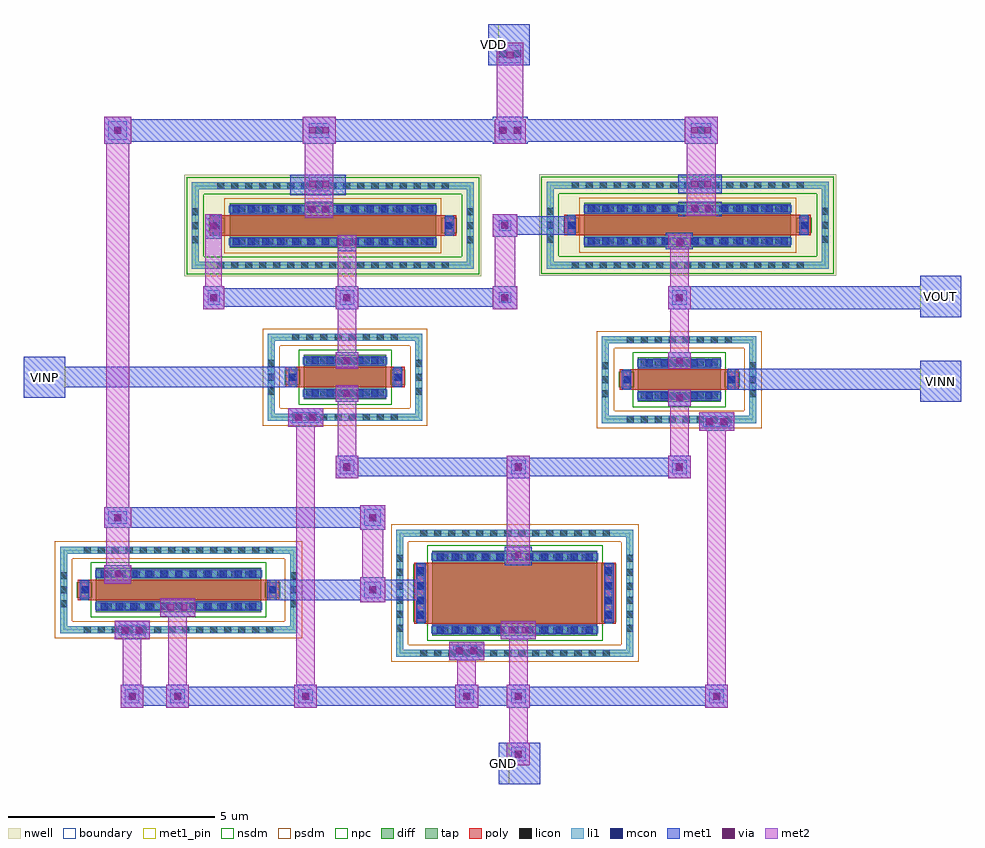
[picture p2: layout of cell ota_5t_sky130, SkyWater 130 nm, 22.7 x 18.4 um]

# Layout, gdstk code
from math import pi, radians
import gdstk
lib = gdstk.Library(unit=1e-6, precision=1e-09)
def R(c, l, rs):  # rectangles x0, y0, x1, y1
    for r in rs: c.add(gdstk.rectangle(r[:2], r[2:], *l))
def A(c, l, x, y, w, h, nx, ny, dx, dy):  # array of equal rectangles
    R(c, l, [(x+i*dx, y+j*dy, x+i*dx+w, y+j*dy+h) for i in range(nx) for j in range(ny)])
nwell = (64, 20)
diff = (65, 20)
tap = (65, 44)
poly = (66, 20)
licon = (66, 44)
li1 = (67, 20)
mcon = (67, 44)
met1_pin = (68, 16)
met1 = (68, 20)
via = (68, 44)
met2 = (69, 20)
nsdm = (93, 44)
psdm = (94, 20)
npc = (95, 20)
boundary = (235, 4)

sky130_fd_pr__nfet_01v8_ = lib.new_cell('sky130_fd_pr__nfet_01v8_EAQ5W9')
R(sky130_fd_pr__nfet_01v8_, diff, [(-0.54,-2,0.54,2)])
R(sky130_fd_pr__nfet_01v8_, tap, [(-1.05,-2.87,1.05,-2.7), (-1.05,-2.7,-0.88,2.7), (0.88,-2.7,1.05,2.7), (-1.05,2.7,1.05,2.87)])
R(sky130_fd_pr__nfet_01v8_, poly, [(-0.25,-2.44,0.25,2.44)])
A(sky130_fd_pr__nfet_01v8_, licon, -0.425, -2.87, 0.17, 0.17, 3, 2, 0.34, 5.57)
A(sky130_fd_pr__nfet_01v8_, licon, -1.05, -2.295, 0.17, 0.17, 1, 14, 0, 0.34)
A(sky130_fd_pr__nfet_01v8_, licon, 0.88, -2.295, 0.17, 0.17, 1, 14, 0, 0.34)
A(sky130_fd_pr__nfet_01v8_, licon, -0.48, -1.785, 0.17, 0.17, 1, 11, 0, 0.34)
A(sky130_fd_pr__nfet_01v8_, licon, 0.31, -1.785, 0.17, 0.17, 1, 11, 0, 0.34)
R(sky130_fd_pr__nfet_01v8_, licon, [(-0.085,-2.36,0.085,-2.19), (-0.085,2.19,0.085,2.36)])
R(sky130_fd_pr__nfet_01v8_, li1, [(-1.05,-2.87,1.05,-2.7), (-1.05,-2.7,-0.88,2.7), (0.88,-2.7,1.05,2.7), (-0.25,-2.36,0.25,-2.19), (-0.48,-2.02,-0.31,2.02), (0.31,-2.02,0.48,2.02), (-0.25,2.19,0.25,2.36), (-1.05,2.7,1.05,2.87)])
A(sky130_fd_pr__nfet_01v8_, mcon, -0.48, -1.885, 0.17, 0.17, 1, 11, 0, 0.36)
A(sky130_fd_pr__nfet_01v8_, mcon, 0.31, -1.885, 0.17, 0.17, 1, 11, 0, 0.36)
R(sky130_fd_pr__nfet_01v8_, mcon, [(-0.085,-2.36,0.085,-2.19), (-0.085,2.19,0.085,2.36)])
R(sky130_fd_pr__nfet_01v8_, met1, [(-0.23,-2.39,0.23,-2.16), (-0.51,-2,-0.28,2), (0.28,-2,0.51,2), (-0.23,2.16,0.23,2.39)])
R(sky130_fd_pr__nfet_01v8_, nsdm, [(-0.665,-2.125,0.665,2.125)])
R(sky130_fd_pr__nfet_01v8_, psdm, [(-1.175,-2.995,1.175,-2.575), (-1.175,-2.575,-0.755,2.575), (0.755,-2.575,1.175,2.575), (-1.175,2.575,1.175,2.995)])
R(sky130_fd_pr__nfet_01v8_, npc, [(-0.185,-2.46,0.185,-2.09), (-0.185,2.09,0.185,2.46)])
R(sky130_fd_pr__nfet_01v8_, boundary, [(-0.965,-2.785,0.965,2.785)])
sky130_fd_pr__nfet_01v8_.add(gdstk.Label('B', (0,-2.785), layer=67, texttype=5))
sky130_fd_pr__nfet_01v8_.add(gdstk.Label('D', (-0.395,0), layer=67, texttype=5))
sky130_fd_pr__nfet_01v8_.add(gdstk.Label('S', (0.395,0), layer=67, texttype=5))
sky130_fd_pr__nfet_01v8_.add(gdstk.Label('G', (0,2.275), layer=67, texttype=5))

c_sky130_fd_pr__nfet_01v8_ = lib.new_cell('sky130_fd_pr__nfet_01v8_6CY75A')
R(c_sky130_fd_pr__nfet_01v8_, diff, [(-1.03,-2,1.03,2)])
R(c_sky130_fd_pr__nfet_01v8_, tap, [(-1.54,-2.87,1.54,-2.7), (-1.54,-2.7,-1.37,2.7), (1.37,-2.7,1.54,2.7), (-1.54,2.7,1.54,2.87)])
R(c_sky130_fd_pr__nfet_01v8_, poly, [(-0.74,-2.44,0.74,2.44)])
A(c_sky130_fd_pr__nfet_01v8_, licon, -0.935, -2.87, 0.17, 0.17, 6, 2, 0.34, 5.57)
A(c_sky130_fd_pr__nfet_01v8_, licon, -0.595, -2.36, 0.17, 0.17, 4, 2, 0.34, 4.55)
A(c_sky130_fd_pr__nfet_01v8_, licon, -1.54, -2.295, 0.17, 0.17, 1, 14, 0, 0.34)
A(c_sky130_fd_pr__nfet_01v8_, licon, 1.37, -2.295, 0.17, 0.17, 1, 14, 0, 0.34)
A(c_sky130_fd_pr__nfet_01v8_, licon, -0.97, -1.785, 0.17, 0.17, 1, 11, 0, 0.34)
A(c_sky130_fd_pr__nfet_01v8_, licon, 0.8, -1.785, 0.17, 0.17, 1, 11, 0, 0.34)
R(c_sky130_fd_pr__nfet_01v8_, li1, [(-1.54,-2.87,1.54,-2.7), (-1.54,-2.7,-1.37,2.7), (1.37,-2.7,1.54,2.7), (-0.74,-2.36,0.74,-2.19), (-0.97,-2.02,-0.8,2.02), (0.8,-2.02,0.97,2.02), (-0.74,2.19,0.74,2.36), (-1.54,2.7,1.54,2.87)])
A(c_sky130_fd_pr__nfet_01v8_, mcon, -0.625, -2.36, 0.17, 0.17, 4, 2, 0.36, 4.55)
A(c_sky130_fd_pr__nfet_01v8_, mcon, -0.97, -1.885, 0.17, 0.17, 1, 11, 0, 0.36)
A(c_sky130_fd_pr__nfet_01v8_, mcon, 0.8, -1.885, 0.17, 0.17, 1, 11, 0, 0.36)
R(c_sky130_fd_pr__nfet_01v8_, met1, [(-0.72,-2.39,0.72,-2.16), (-1,-2,-0.77,2), (0.77,-2,1,2), (-0.72,2.16,0.72,2.39)])
R(c_sky130_fd_pr__nfet_01v8_, nsdm, [(-1.155,-2.125,1.155,2.125)])
R(c_sky130_fd_pr__nfet_01v8_, psdm, [(-1.665,-2.995,1.665,-2.575), (-1.665,-2.575,-1.245,2.575), (1.245,-2.575,1.665,2.575), (-1.665,2.575,1.665,2.995)])
R(c_sky130_fd_pr__nfet_01v8_, npc, [(-0.695,-2.46,0.695,-2.09), (-0.695,2.09,0.695,2.46)])
R(c_sky130_fd_pr__nfet_01v8_, boundary, [(-1.455,-2.785,1.455,2.785)])
c_sky130_fd_pr__nfet_01v8_.add(gdstk.Label('B', (0,-2.785), layer=67, texttype=5))
c_sky130_fd_pr__nfet_01v8_.add(gdstk.Label('D', (-0.885,0), layer=67, texttype=5))
c_sky130_fd_pr__nfet_01v8_.add(gdstk.Label('S', (0.885,0), layer=67, texttype=5))
c_sky130_fd_pr__nfet_01v8_.add(gdstk.Label('G', (0,2.275), layer=67, texttype=5))

sky130_fd_pr__pfet_01v8_ = lib.new_cell('sky130_fd_pr__pfet_01v8_NMZPXD')
R(sky130_fd_pr__pfet_01v8_, nwell, [(-1.23,-3.595,1.23,3.595)])
R(sky130_fd_pr__pfet_01v8_, diff, [(-0.54,-2.5,0.54,2.5)])
R(sky130_fd_pr__pfet_01v8_, tap, [(-1.05,-3.415,1.05,-3.245), (-1.05,-3.245,-0.88,3.245), (0.88,-3.245,1.05,3.245), (-1.05,3.245,1.05,3.415)])
R(sky130_fd_pr__pfet_01v8_, poly, [(-0.25,-2.985,0.25,2.985)])
A(sky130_fd_pr__pfet_01v8_, licon, -0.425, -3.415, 0.17, 0.17, 3, 2, 0.34, 6.66)
A(sky130_fd_pr__pfet_01v8_, licon, -1.05, -2.805, 0.17, 0.17, 1, 17, 0, 0.34)
A(sky130_fd_pr__pfet_01v8_, licon, 0.88, -2.805, 0.17, 0.17, 1, 17, 0, 0.34)
A(sky130_fd_pr__pfet_01v8_, licon, -0.48, -2.295, 0.17, 0.17, 1, 14, 0, 0.34)
A(sky130_fd_pr__pfet_01v8_, licon, 0.31, -2.295, 0.17, 0.17, 1, 14, 0, 0.34)
R(sky130_fd_pr__pfet_01v8_, licon, [(-0.085,-2.905,0.085,-2.735), (-0.085,2.735,0.085,2.905)])
R(sky130_fd_pr__pfet_01v8_, li1, [(-1.05,-3.415,1.05,-3.245), (-1.05,-3.245,-0.88,3.245), (0.88,-3.245,1.05,3.245), (-0.25,-2.905,0.25,-2.735), (-0.48,-2.52,-0.31,2.52), (0.31,-2.52,0.48,2.52), (-0.25,2.735,0.25,2.905), (-1.05,3.245,1.05,3.415)])
A(sky130_fd_pr__pfet_01v8_, mcon, -0.48, -2.425, 0.17, 0.17, 1, 14, 0, 0.36)
A(sky130_fd_pr__pfet_01v8_, mcon, 0.31, -2.425, 0.17, 0.17, 1, 14, 0, 0.36)
R(sky130_fd_pr__pfet_01v8_, mcon, [(-0.085,-2.905,0.085,-2.735), (-0.085,2.735,0.085,2.905)])
R(sky130_fd_pr__pfet_01v8_, met1, [(-0.23,-2.935,0.23,-2.705), (-0.51,-2.5,-0.28,2.5), (0.28,-2.5,0.51,2.5), (-0.23,2.705,0.23,2.935)])
R(sky130_fd_pr__pfet_01v8_, nsdm, [(-1.175,-3.54,1.175,-3.12), (-1.175,-3.12,-0.755,3.12), (0.755,-3.12,1.175,3.12), (-1.175,3.12,1.175,3.54)])
R(sky130_fd_pr__pfet_01v8_, psdm, [(-0.665,-2.625,0.665,2.625)])
R(sky130_fd_pr__pfet_01v8_, npc, [(-0.185,-3.005,0.185,-2.635), (-0.185,2.635,0.185,3.005)])
R(sky130_fd_pr__pfet_01v8_, boundary, [(-0.965,-3.33,0.965,3.33)])
sky130_fd_pr__pfet_01v8_.add(gdstk.Label('B', (0,-3.33), layer=67, texttype=5))
sky130_fd_pr__pfet_01v8_.add(gdstk.Label('D', (-0.395,0), layer=67, texttype=5))
sky130_fd_pr__pfet_01v8_.add(gdstk.Label('S', (0.395,0), layer=67, texttype=5))
sky130_fd_pr__pfet_01v8_.add(gdstk.Label('G', (0,2.82), layer=67, texttype=5))

c_sky130_fd_pr__nfet_01v8__ = lib.new_cell('sky130_fd_pr__nfet_01v8_8LGPJ7')
R(c_sky130_fd_pr__nfet_01v8__, diff, [(-0.54,-1,0.54,1)])
R(c_sky130_fd_pr__nfet_01v8__, tap, [(-1.05,-1.87,1.05,-1.7), (-1.05,-1.7,-0.88,1.7), (0.88,-1.7,1.05,1.7), (-1.05,1.7,1.05,1.87)])
R(c_sky130_fd_pr__nfet_01v8__, poly, [(-0.25,-1.44,0.25,1.44)])
A(c_sky130_fd_pr__nfet_01v8__, licon, -0.425, -1.87, 0.17, 0.17, 3, 2, 0.34, 3.57)
A(c_sky130_fd_pr__nfet_01v8__, licon, -1.05, -1.275, 0.17, 0.17, 1, 8, 0, 0.34)
A(c_sky130_fd_pr__nfet_01v8__, licon, 0.88, -1.275, 0.17, 0.17, 1, 8, 0, 0.34)
A(c_sky130_fd_pr__nfet_01v8__, licon, -0.48, -0.935, 0.17, 0.17, 1, 6, 0, 0.34)
A(c_sky130_fd_pr__nfet_01v8__, licon, 0.31, -0.935, 0.17, 0.17, 1, 6, 0, 0.34)
R(c_sky130_fd_pr__nfet_01v8__, licon, [(-0.085,-1.36,0.085,-1.19), (-0.085,1.19,0.085,1.36)])
R(c_sky130_fd_pr__nfet_01v8__, li1, [(-1.05,-1.87,1.05,-1.7), (-1.05,-1.7,-0.88,1.7), (0.88,-1.7,1.05,1.7), (-0.25,-1.36,0.25,-1.19), (-0.48,-1.02,-0.31,1.02), (0.31,-1.02,0.48,1.02), (-0.25,1.19,0.25,1.36), (-1.05,1.7,1.05,1.87)])
A(c_sky130_fd_pr__nfet_01v8__, mcon, -0.48, -0.805, 0.17, 0.17, 1, 5, 0, 0.36)
A(c_sky130_fd_pr__nfet_01v8__, mcon, 0.31, -0.805, 0.17, 0.17, 1, 5, 0, 0.36)
R(c_sky130_fd_pr__nfet_01v8__, mcon, [(-0.085,-1.36,0.085,-1.19), (-0.085,1.19,0.085,1.36)])
R(c_sky130_fd_pr__nfet_01v8__, met1, [(-0.23,-1.39,0.23,-1.16), (-0.51,-1,-0.28,1), (0.28,-1,0.51,1), (-0.23,1.16,0.23,1.39)])
R(c_sky130_fd_pr__nfet_01v8__, nsdm, [(-0.665,-1.125,0.665,1.125)])
R(c_sky130_fd_pr__nfet_01v8__, psdm, [(-1.175,-1.995,1.175,-1.575), (-1.175,-1.575,-0.755,1.575), (0.755,-1.575,1.175,1.575), (-1.175,1.575,1.175,1.995)])
R(c_sky130_fd_pr__nfet_01v8__, npc, [(-0.185,-1.46,0.185,-1.09), (-0.185,1.09,0.185,1.46)])
R(c_sky130_fd_pr__nfet_01v8__, boundary, [(-0.965,-1.785,0.965,1.785)])
c_sky130_fd_pr__nfet_01v8__.add(gdstk.Label('B', (0,-1.785), layer=67, texttype=5))
c_sky130_fd_pr__nfet_01v8__.add(gdstk.Label('D', (-0.395,0), layer=67, texttype=5))
c_sky130_fd_pr__nfet_01v8__.add(gdstk.Label('S', (0.395,0), layer=67, texttype=5))
c_sky130_fd_pr__nfet_01v8__.add(gdstk.Label('G', (0,1.275), layer=67, texttype=5))

ota_5t_sky130 = lib.new_cell('ota_5t_sky130')
R(ota_5t_sky130, li1, [(10.45,-16.25,10.8,-15.9), (1.1,-14.85,1.45,-14.5), (2.2,-14.85,2.55,-14.5), (5.3,-14.85,5.65,-14.5), (9.2,-14.85,9.55,-14.5), (10.45,-14.85,10.8,-14.5), (15.25,-14.85,15.6,-14.5), (9.05,-13.7,9.7,-13.45), (0.95,-13.2,1.6,-12.95), (6.9,-12.3,7.3,-11.9), (6.9,-10.55,7.3,-10.15), (0.7,-10.5,1.15,-10.2), (6.3,-9.3,6.65,-8.95), (10.45,-9.3,10.8,-8.95), (14.35,-9.3,14.7,-8.95), (15.1,-8.15,15.75,-7.9), (5.15,-8.05,5.8,-7.8), (3.1,-5.2,3.4,-4.85), (6.3,-5.2,6.65,-4.85), (14.35,-5.2,14.7,-4.85), (10.15,-5.15,10.45,-4.9), (10.15,-3.4,10.45,-3.15), (5.55,-2.45,6.05,-2.1), (14.8,-2.4,15.3,-2.15), (0.7,-1.2,1.15,-0.75), (10.15,-1.2,10.7,-0.75), (5.55,-1.15,6.05,-0.8), (14.8,-1.15,15.3,-0.8), (10.15,0.65,10.7,1.1)])
R(ota_5t_sky130, mcon, [(10.54,-16.16,10.71,-15.99), (1.19,-14.76,1.36,-14.59), (2.29,-14.76,2.46,-14.59), (5.39,-14.76,5.56,-14.59), (9.29,-14.76,9.46,-14.59), (10.54,-14.76,10.71,-14.59), (15.34,-14.76,15.51,-14.59), (9.11,-13.66,9.28,-13.49), (9.47,-13.66,9.64,-13.49), (1.01,-13.16,1.18,-12.99), (1.37,-13.16,1.54,-12.99), (7.015,-12.185,7.185,-12.015), (0.84,-10.435,1.01,-10.265), (7.015,-10.435,7.185,-10.265), (6.39,-9.21,6.56,-9.04), (10.54,-9.21,10.71,-9.04), (14.44,-9.21,14.61,-9.04), (15.16,-8.11,15.33,-7.94), (15.52,-8.11,15.69,-7.94), (5.21,-8.01,5.38,-7.84), (5.57,-8.01,5.74,-7.84), (3.165,-5.11,3.335,-4.94), (6.39,-5.11,6.56,-4.94), (10.215,-5.11,10.385,-4.94), (14.44,-5.11,14.61,-4.94), (10.215,-3.36,10.385,-3.19), (5.715,-2.36,5.885,-2.19), (14.965,-2.36,15.135,-2.19), (0.84,-1.06,1.01,-0.89), (5.715,-1.06,5.885,-0.89), (10.16,-1.06,10.33,-0.89), (10.52,-1.06,10.69,-0.89), (14.965,-1.06,15.135,-0.89), (10.16,0.79,10.33,0.96), (10.52,0.79,10.69,0.96)])
R(ota_5t_sky130, met1_pin, [(10.15,-16.8,10.4,-15.8), (20.35,-7.55,21.35,-6.55), (-1.35,-7.45,-0.35,-6.45), (20.35,-5.5,21.35,-4.5), (9.9,0.6,10.15,1.6)])
R(ota_5t_sky130, met1, [(10.15,-16.8,11.15,-15.8), (1,-14.95,1.55,-14.9), (2.1,-14.95,2.65,-14.9), (5.2,-14.95,5.75,-14.9), (9.1,-14.95,9.65,-14.9), (10.35,-14.95,10.9,-14.9), (15.15,-14.95,15.7,-14.9), (1,-14.9,15.7,-14.45), (1,-14.45,1.55,-14.4), (2.1,-14.45,2.65,-14.4), (5.2,-14.45,5.75,-14.4), (9.1,-14.45,9.65,-14.4), (10.35,-14.45,10.9,-14.4), (15.15,-14.45,15.7,-14.4), (8.95,-13.8,9.8,-13.35), (0.85,-13.3,1.7,-12.85), (10.2,-13.3,11.05,-12.85), (1.95,-12.75,2.8,-12.3), (6.8,-12.4,7.4,-12.35), (4.55,-12.35,8.25,-11.85), (0.6,-11.95,1.25,-11.5), (6.8,-11.85,7.4,-11.8), (10.3,-11.5,10.95,-11.05), (6.8,-10.65,7.4,-10.6), (0.6,-10.6,7.4,-10.1), (6.8,-10.1,7.4,-10.05), (6.2,-9.4,6.75,-9.35), (10.35,-9.4,10.9,-9.35), (14.25,-9.4,14.8,-9.35), (6.2,-9.35,14.8,-8.9), (6.2,-8.9,6.75,-8.85), (10.35,-8.9,10.9,-8.85), (14.25,-8.9,14.8,-8.85), (15,-8.25,15.85,-7.8), (5.05,-8.15,5.9,-7.7), (14.25,-7.65,14.8,-7.25), (6.2,-7.55,6.75,-7.15), (20.35,-7.55,21.35,-7.25), (-1.35,-7.45,-0.35,-7.2), (15.7,-7.25,21.35,-6.75), (-1.35,-7.2,5.25,-6.7), (6.2,-6.75,6.75,-6.35), (14.25,-6.75,14.8,-6.35), (20.35,-6.75,21.35,-6.55), (-1.35,-6.7,-0.35,-6.45), (20.35,-5.5,21.35,-5.3), (3,-5.3,3.5,-5.25), (6.2,-5.3,6.75,-5.25), (10,-5.3,10.6,-5.25), (14.25,-5.3,21.35,-4.75), (3,-5.25,10.6,-4.8), (3,-4.8,3.5,-4.75), (6.2,-4.8,6.75,-4.75), (10,-4.8,10.6,-4.75), (20.35,-4.75,21.35,-4.5), (6.25,-3.9,6.7,-3.5), (14.2,-3.85,14.85,-3.45), (3.05,-3.6,3.45,-3), (10,-3.55,10.6,-3.5), (10,-3.5,11.95,-3.05), (5.45,-3.1,6.15,-2.7), (10,-3.05,10.6,-3), (14.5,-3.05,15.55,-2.7), (5.1,-2.55,6.45,-2.05), (14.5,-2.5,15.55,-2.05), (0.6,-1.3,1.25,-1.25), (5.4,-1.3,6.2,-1.25), (10,-1.3,10.85,-1.25), (14.65,-1.3,15.45,-1.25), (0.6,-1.25,15.45,-0.7), (0.6,-0.7,1.25,-0.65), (5.4,-0.7,6.2,-0.65), (10,-0.7,10.85,-0.65), (14.65,-0.7,15.45,-0.65), (9.9,0.6,10.9,1.6)])
R(ota_5t_sky130, via, [(10.55,-16.15,10.7,-16), (1.2,-14.75,1.35,-14.6), (2.3,-14.75,2.45,-14.6), (5.4,-14.75,5.55,-14.6), (9.3,-14.75,9.45,-14.6), (10.55,-14.75,10.7,-14.6), (15.35,-14.75,15.5,-14.6), (9.14,-13.65,9.29,-13.5), (9.46,-13.65,9.61,-13.5), (1.04,-13.15,1.19,-13), (1.36,-13.15,1.51,-13), (10.39,-13.15,10.54,-13), (10.71,-13.15,10.86,-13), (2.14,-12.6,2.29,-12.45), (2.46,-12.6,2.61,-12.45), (7.025,-12.175,7.175,-12.025), (0.85,-11.8,1,-11.65), (10.55,-11.325,10.7,-11.175), (0.85,-10.425,1,-10.275), (7.025,-10.425,7.175,-10.275), (6.4,-9.2,6.55,-9.05), (10.55,-9.2,10.7,-9.05), (14.45,-9.2,14.6,-9.05), (15.19,-8.1,15.34,-7.95), (15.51,-8.1,15.66,-7.95), (5.24,-8,5.39,-7.85), (5.56,-8,5.71,-7.85), (14.45,-7.525,14.6,-7.375), (6.4,-7.425,6.55,-7.275), (6.4,-6.625,6.55,-6.475), (14.45,-6.625,14.6,-6.475), (3.175,-5.1,3.325,-4.95), (6.4,-5.1,6.55,-4.95), (10.225,-5.1,10.375,-4.95), (14.45,-5.1,14.6,-4.95), (6.4,-3.775,6.55,-3.625), (14.45,-3.775,14.6,-3.625), (3.175,-3.375,3.325,-3.225), (10.225,-3.35,10.375,-3.2), (5.565,-2.95,5.715,-2.8), (5.885,-2.95,6.035,-2.8), (14.815,-2.925,14.965,-2.775), (15.135,-2.925,15.285,-2.775), (5.565,-2.35,5.715,-2.2), (5.885,-2.35,6.035,-2.2), (14.815,-2.35,14.965,-2.2), (15.135,-2.35,15.285,-2.2), (0.85,-1.05,1,-0.9), (5.565,-1.05,5.715,-0.9), (5.885,-1.05,6.035,-0.9), (10.19,-1.05,10.34,-0.9), (10.51,-1.05,10.66,-0.9), (14.815,-1.05,14.965,-0.9), (15.135,-1.05,15.285,-0.9), (10.35,0.775,10.5,0.925)])
R(ota_5t_sky130, met2, [(10.35,-16.35,10.9,-15.8), (10.4,-15.8,10.85,-14.95), (1,-14.95,1.55,-14.4), (2.1,-14.95,2.65,-14.4), (5.2,-14.95,5.75,-14.4), (9.1,-14.95,9.65,-14.4), (10.35,-14.95,10.9,-14.4), (15.15,-14.95,15.7,-14.4), (1.05,-14.4,1.5,-13.3), (2.15,-14.4,2.6,-12.75), (5.25,-14.4,5.7,-8.15), (9.15,-14.4,9.6,-13.8), (10.4,-14.4,10.85,-13.3), (15.2,-14.4,15.65,-8.25), (8.95,-13.8,9.8,-13.35), (0.85,-13.3,1.7,-12.85), (10.2,-13.3,11.05,-12.85), (1.95,-12.75,2.8,-12.3), (6.8,-12.4,7.4,-11.8), (0.6,-11.95,1.25,-11.5), (6.85,-11.8,7.35,-10.65), (0.65,-11.5,1.2,-10.6), (10.35,-11.45,10.9,-8.85), (6.8,-10.65,7.4,-10.05), (0.6,-10.6,1.25,-10.1), (0.65,-10.1,1.2,-1.3), (6.2,-9.4,6.75,-8.85), (14.25,-9.4,14.8,-8.85), (6.25,-8.85,6.7,-7.55), (14.3,-8.85,14.75,-7.65), (15,-8.25,15.85,-7.8), (5.05,-8.15,5.9,-7.7), (14.25,-7.65,14.8,-7.25), (6.2,-7.55,6.75,-7.15), (6.2,-6.75,6.75,-6.35), (14.25,-6.75,14.8,-6.35), (6.25,-6.35,6.7,-5.3), (14.3,-6.35,14.75,-5.3), (3,-5.3,3.5,-4.75), (6.2,-5.3,6.75,-4.75), (10,-5.3,10.6,-4.75), (14.25,-5.3,14.8,-4.75), (3.05,-4.75,3.45,-3), (6.25,-4.75,6.7,-3.5), (10.05,-4.75,10.55,-3.55), (14.3,-4.75,14.75,-3.8), (14.25,-3.8,14.8,-3.5), (10,-3.55,10.6,-3), (5.45,-3.1,6.15,-1.3), (14.7,-3.05,15.4,-1.3), (0.6,-1.3,1.25,-0.65), (5.4,-1.3,6.2,-0.65), (10.05,-1.3,10.8,-0.7), (14.65,-1.3,15.45,-0.65), (10.1,-0.7,10.75,1.15)])
ota_5t_sky130.add(gdstk.Reference(sky130_fd_pr__nfet_01v8_, (2.4,-12.1), rotation=pi/2))
ota_5t_sky130.add(gdstk.Reference(c_sky130_fd_pr__nfet_01v8_, (10.54,-12.18), rotation=pi/2))
ota_5t_sky130.add(gdstk.Reference(sky130_fd_pr__pfet_01v8_, (14.725,-3.27), rotation=pi/2))
ota_5t_sky130.add(gdstk.Reference(sky130_fd_pr__pfet_01v8_, (6.135,-3.28), rotation=pi/2))
ota_5t_sky130.add(gdstk.Reference(c_sky130_fd_pr__nfet_01v8__, (14.52,-7.01), rotation=pi/2))
ota_5t_sky130.add(gdstk.Reference(c_sky130_fd_pr__nfet_01v8__, (6.43,-6.95), rotation=pi/2))
ota_5t_sky130.add(gdstk.Label('VDD', (10.025,1.1), layer=68, texttype=5))
ota_5t_sky130.add(gdstk.Label('VOUT', (20.85,-5), layer=68, texttype=5))
ota_5t_sky130.add(gdstk.Label('VINP', (-0.85,-6.95), layer=68, texttype=5))
ota_5t_sky130.add(gdstk.Label('VINN', (20.85,-7.05), layer=68, texttype=5))
ota_5t_sky130.add(gdstk.Label('GND', (10.275,-16.3), layer=68, texttype=5))

lib.write_gds('ota_5t_sky130.gds')
